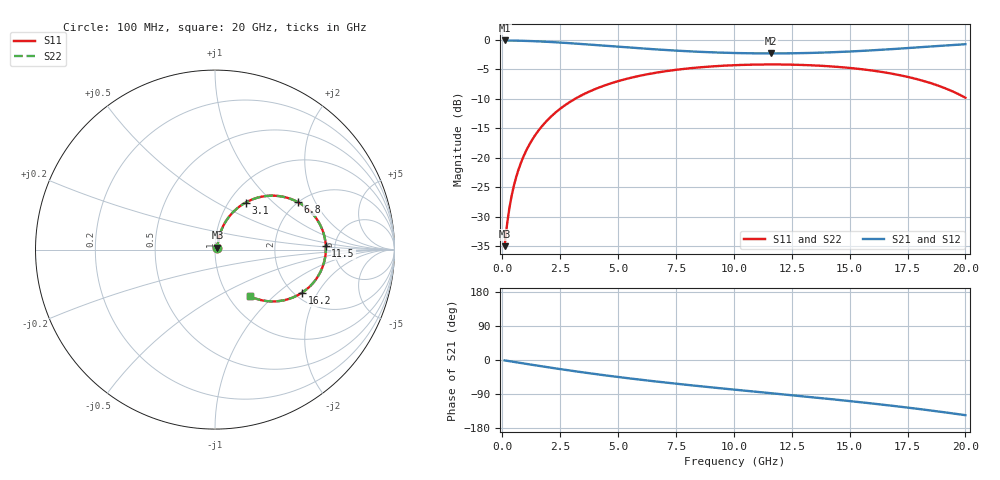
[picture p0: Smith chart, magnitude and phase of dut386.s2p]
! Touchstone file exported from HFSS 2026.1.0
!  File:  C:/ffzhzh/LocalFiles/Ansys_Project_Files/temp_train_TSV_RDL_386_1783090096_50312.aedt
!  Generated:  11:01:37 PM Jul  3, 2026
!  Design:  TSV_RDL
!  Project:  temp_train_TSV_RDL_386_1783090096_50312
! Variables:
!  h_bsmrdl = 2.44um
!  h_ox = 20um
!  h_rdl = 5um
!  h_sub = 83.54um
!  h_tmrdl = 5.89um
!  h_tsv = 83.54um
!  h_via = 3um
!  l_bsmrdl = 128.4um
!  l_sub = 2468.89um
!  l_tmrdl = 400.74um
!  m_sub = 200um
!  pitch = 52.07um
!  r_tsv = 5.88um
!  s_tmrdl = 10um
!  w_bsmrdl = 11.83um
!  w_sub = 500um
!  w_tmrdl = 15.08um
!  x_tsv_center1 = 408.28um
!  x_tsv_center2 = 548.51um
!  x_tsv_center3 = 964.33um
!  x_tsv_center4 = 1104.56um
!  x_tsv_center5 = 1520.38um
!  x_tsv_center6 = 1660.61um
# GHz S MA R 50.000000
! Terminal data exported
! Port[1] = TM_RDL1_1_T1
! Port[2] = TM_RDL5_1_T1
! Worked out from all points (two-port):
!   200 points, 100 MHz to 20 GHz, reference 50 ohm
!   highest |S21| = -0.12 dB at 100 MHz (marker M1); lowest = -2.3 dB at 11.6 GHz (marker M2)
!   |S21| within 3 dB of the highest: start of sweep to end of sweep
!   lowest |S11| = -35.0 dB at 100 MHz (marker M3), VSWR 1.04, Z = 51.4 + j1.16 ohm
!   |S11| at or under -10 dB: start of sweep to 3.149 GHz
!   |S22| runs from -35.0 to -4.2 dB; largest |S21 - S12| = 1.8e-13
!   S11 on the Smith chart (normalised r, x): 100 MHz: 1.03, +0.02; 3.1 GHz: 1.19, +0.69; 6.8 GHz: 1.99, +1.47; 11.5 GHz: 4.22, +0.24; 16.2 GHz: 2.18, -1.49; 20 GHz: 1.25, -0.72
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0.1  0.01782 39.1  0.9863 -1.0  0.9863 -1.0  0.01782 39.1
! Gamma 0 0 0 0
! Port Impedance 50 0 50 0
0.2  0.0267 56.7  0.9859 -2.0  0.9859 -2.0  0.0267 56.7
0.3  0.03681 64.4  0.9853 -3.0  0.9853 -3.0  0.03681 64.4
0.4  0.04729 68.3  0.9846 -4.0  0.9846 -4.0  0.04729 68.3
0.7  0.07938 72.2  0.9819 -7.0  0.9819 -7.0  0.07938 72.2
1  0.1114 72.1  0.9783 -9.9  0.9783 -9.9  0.1114 72.1
1.4  0.1533 70.1  0.9718 -13.8  0.9718 -13.8  0.1533 70.1
1.9  0.2036 66.5  0.9616 -18.5  0.9616 -18.5  0.2036 66.5
2.5  0.2602 61.8  0.9467 -24.0  0.9467 -24.0  0.2602 61.8
3.1  0.3122 57.0  0.93 -29.3  0.93 -29.3  0.3122 57.0
3.5  0.3442 53.8  0.9182 -32.8  0.9182 -32.8  0.3442 53.8
5  0.4458 42.4  0.873 -44.8  0.873 -44.8  0.4458 42.4
6.8  0.5318 29.9  0.8245 -57.8  0.8245 -57.8  0.5318 29.9
8.5  0.5831 19.2  0.7905 -68.9  0.7905 -68.9  0.5831 19.2
10.1  0.6096 9.7  0.7715 -78.7  0.7715 -78.7  0.6096 9.7
11.5  0.6176 1.7  0.7657 -87.0  0.7657 -87.0  0.6176 1.7
11.6  0.6176 1.1  0.7657 -87.6  0.7657 -87.6  0.6176 1.1
13.4  0.6068 -9.3  0.774 -98.4  0.774 -98.4  0.6068 -9.3
16.2  0.5406 -26.4  0.8184 -116.3  0.8184 -116.3  0.5406 -26.4
16.7  0.5213 -29.7  0.8298 -119.8  0.8298 -119.8  0.5213 -29.7
18.4  0.4352 -41.6  0.8738 -132.4  0.8738 -132.4  0.4352 -41.5
20  0.3228 -53.4  0.9164 -145.6  0.9164 -145.6  0.3227 -53.4
